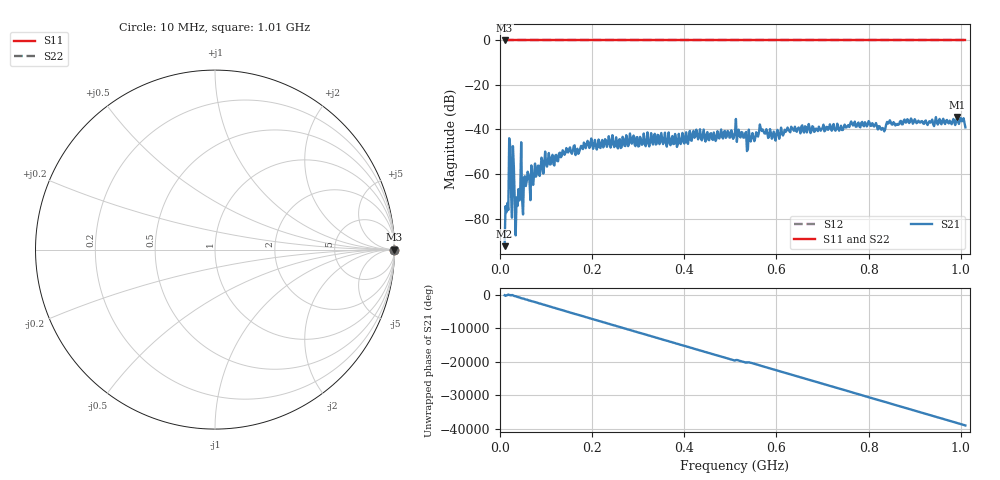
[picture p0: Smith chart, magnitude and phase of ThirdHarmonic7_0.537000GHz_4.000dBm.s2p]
! 8/17/2025 4:05:59 PM
! C:\ANRITSUVNA\TEMP\TEMP.S2P
! CHANNEL.1
! TR.MEASUREMENT
! RAW.DATA
! RF.CORRECTION.OFF
! AVERAGING.OFF
! IF.BANDWIDTH: 5KHZ
! SWEEPTYPE:  FREQ.SWEEP(Linear)
! Reference Plane Port Info
! PORT:  PORT1  PORT2
! DISTANCE:  0  m  0  m
! TIME:  0  s  0  s
! PHASE.OFFSET:  0  deg.  0  deg.
! LOSS:  0  dB  0  dB
! REF.LOSS:  0  dB  0  dB
! REF.FREQ:  0  Hz  0  Hz
! Power Info
! POWER:  -20  dBm  -20  dBm
! EFF.POWER:  -20  dBm  -20  dBm
! SOURCE.ATTEN:  0  dB  0  dB
! TEST.ATTEN:  0  dB  0  dB
# GHZ S RI R 50.0
! FREQ.GHZ  S11RE  S11IM  S21RE  S21IM  S12RE  S12IM  S22RE  S22IM
!; PortSelection: Port_12
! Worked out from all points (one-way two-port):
!   501 points, 10 MHz to 1.01 GHz, reference 50 ohm
!   highest |S21| = -34.33 dB at 992 MHz (marker M1); lowest = -92.4 dB at 10 MHz (marker M2)
!   lowest |S11| = 0.0 dB at 10 MHz (marker M3)
!   |S11| at or under -10 dB: nowhere
!   |S22| runs from 0.0 to 0.0 dB; largest |S21 - S12| = 1
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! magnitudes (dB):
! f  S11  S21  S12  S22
! 10 MHz  0.0  -92.4  0.0  0.0
! 14 MHz  0.0  -77.2  0.0  0.0
! 18 MHz  0.0  -76.2  0.0  0.0
! 22 MHz  0.0  -47.2  0.0  0.0
! 24 MHz  0.0  -68.5  0.0  0.0
! 38 MHz  0.0  -74.4  0.0  0.0
! 42 MHz  0.0  -71.9  0.0  0.0
! 50 MHz  0.0  -78.2  0.0  0.0
! 52 MHz  0.0  -61.7  0.0  0.0
! 56 MHz  0.0  -65.4  0.0  0.0
! 68 MHz  0.0  -56.1  0.0  0.0
! 94 MHz  0.0  -59.8  0.0  0.0
! 178 MHz  0.0  -48.2  0.0  0.0
! 344 MHz  0.0  -42.6  0.0  0.0
! 510 MHz  0.0  -41.5  0.0  0.0
! 540 MHz  0.0  -40.1  0.0  0.0
! 566 MHz  0.0  -39.6  0.0  0.0
! 594 MHz  0.0  -41.0  0.0  0.0
! 678 MHz  0.0  -38.5  0.0  0.0
! 844 MHz  0.0  -37.1  0.0  0.0
! 992 MHz  0.0  -34.3  0.0  0.0
! 1.01 GHz  0.0  -39.1  0.0  0.0
